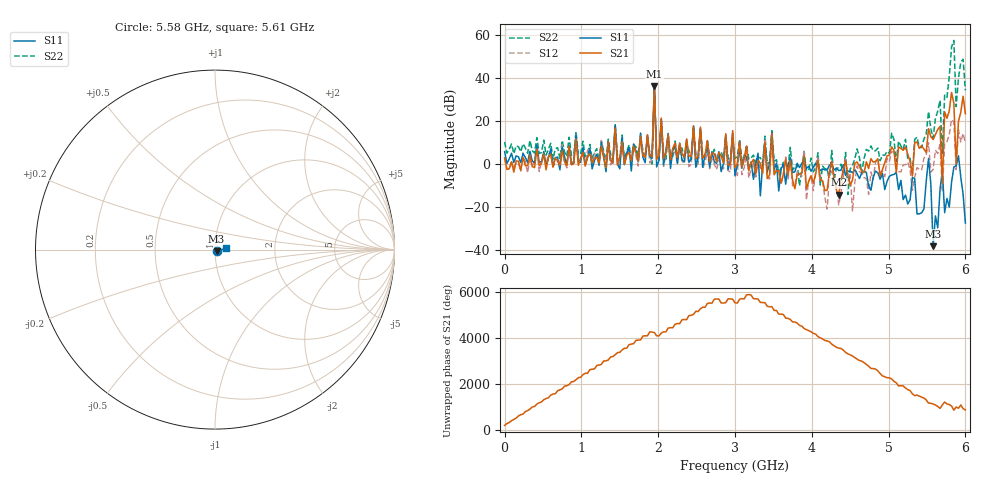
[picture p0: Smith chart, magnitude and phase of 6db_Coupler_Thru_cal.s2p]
#  HZ  S  DB  R  50.0
! Rohde & Schwarz ZVL13 2Ports - Version 3.20 - 1303.6509k13 SN: 100953
! Date: 2024-10-09 08:15:14
! Data & Calibration Information:
! Trc1:S11(TOSM) Trc4:S21(TOSM) Trc2:S12(TOSM) Trc3:S22(TOSM)
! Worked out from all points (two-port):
!   201 points, 9 kHz to 6 GHz, reference 50 ohm
!   highest |S21| = 35.95 dB at 1.95 GHz (marker M1); lowest = -14.5 dB at 4.35 GHz (marker M2)
!   |S21| within 3 dB of the highest: 1.947256 GHz to 1.952652 GHz (5.396 MHz wide, 0.277 % of centre); 5.819296 GHz to 5.821182 GHz (1.887 MHz wide, 0.0324 % of centre)
!   lowest |S11| = -38.4 dB at 5.58 GHz (marker M3), VSWR 1.02, Z = 50.9 - j0.862 ohm
!   |S11| at or under -10 dB: 5.168 GHz to 5.3 GHz (132 MHz wide, 2.52 % of centre); 5.346 GHz to 5.486 GHz (140.3 MHz wide, 2.59 % of centre); 5.551 GHz to 5.677 GHz (126 MHz wide, 2.24 % of centre) (the widest 3 of 10)
!   |S22| runs from -14.3 to 57.3 dB; largest |S21 - S12| = 48
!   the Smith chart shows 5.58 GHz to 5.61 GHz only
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9000  5.60 178.7  2.56 177.5  2.92 176.8  10.14 178.6
1.020007e9  7.48 175.1  5.28 -127.3  4.60 -139.8  10.44 -103.1
1.920006e9  2.54 67.2  3.22 -66.2  2.31 -72.8  -0.15 -89.8
1.950006e9  37.27 4.7  35.95 -90.9  36.38 -103.5  34.86 162.3
1.980006e9  -1.48 154.9  1.94 126.7  2.12 101.7  4.06 -44.9
2.010006e9  1.46 55.7  3.91 128.4  3.15 97.2  2.10 -85.2
3.000004e9  -5.65 37.1  -1.91 129.7  -4.26 161.1  2.53 11.4
4.020003e9  -1.71 7.7  -8.94 -124.8  -12.57 -120.4  -3.77 2.4
4.350002e9  -3.19 16.9  -14.46 -48.8  -19.20 -79.7  -1.84 -1.4
5.010001e9  -5.90 -31.2  3.95 98.8  1.04 -46.3  4.85 147.2
5.580001e9  -38.37 -44.6  11.26 33.5  -2.66 -159.4  11.89 24.4
5.67e9  -11.82 -86.1  17.30 -158.6  9.48 9.6  29.42 -3.8
5.73e9  -22.80 -127.0  24.10 118.3  9.62 -125.5  31.87 146.9
5.76e9  -16.14 90.8  21.14 39.0  10.27 -175.6  30.82 30.6
5.79e9  -20.21 -26.7  24.62 8.8  13.50 145.3  40.52 -55.7
5.82e9  -8.57 91.3  33.15 -55.2  20.56 43.5  54.37 177.6
5.85e9  -1.55 6.5  28.06 125.0  19.49 -136.4  57.34 113.8
5.88e9  -0.95 6.5  -0.09 -101.1  -2.72 73.3  26.55 -176.8
5.91e9  3.67 34.7  19.77 -150.2  15.87 -73.8  39.93 88.1
5.94e9  -6.25 14.2  23.92 -8.6  10.07 82.8  47.19 -157.8
5.97e9  -14.18 115.3  31.38 -169.1  14.03 -44.6  48.62 -60.8
6e9  -27.61 -124.0  23.27 135.2  9.87 -105.0  34.09 -147.4
